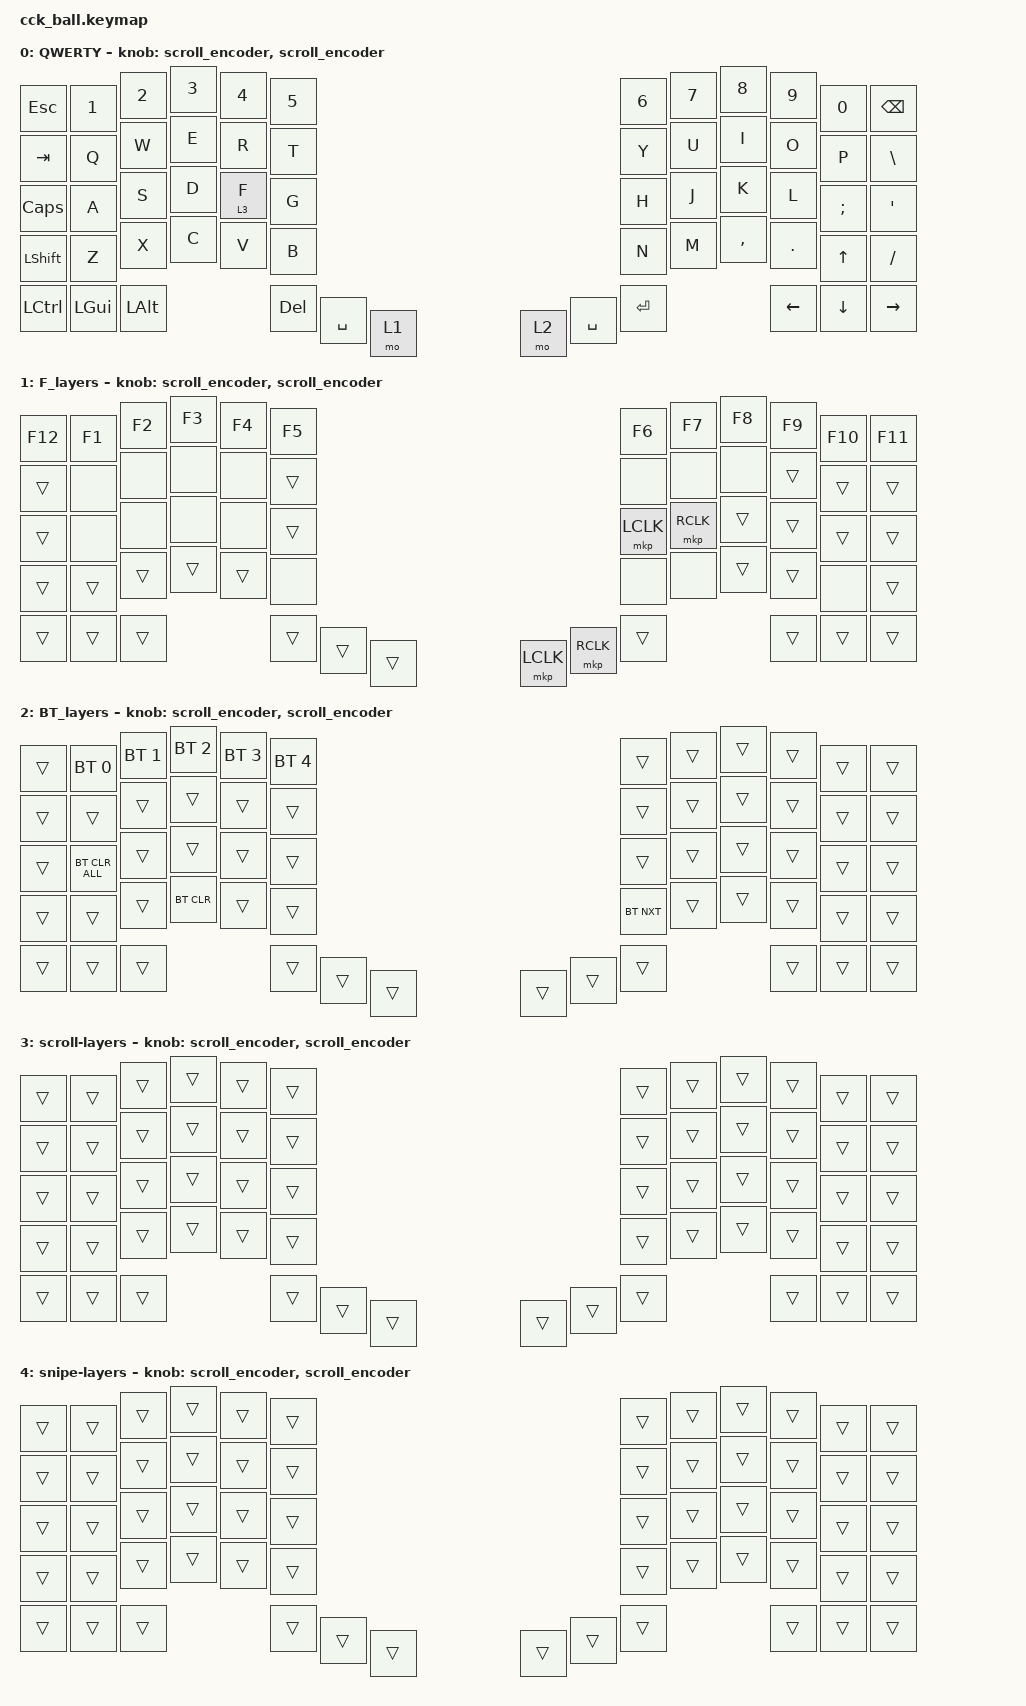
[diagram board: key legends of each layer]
/*
 * Scroll speed for &msc is in notches per second (smooth scrolling is OFF, so one unit = one
 * mouse-wheel notch). 64/s with a 16 ms trigger period = ~1.02 notch per tick, and the encoder
 * behavior below holds the key for 24 ms (one tick) -> exactly one notch per encoder click.
 */
#define ZMK_POINTING_DEFAULT_MOVE_VAL 1000 // 600
#define ZMK_POINTING_DEFAULT_SCRL_VAL 64   // 10

#include <input/processors.dtsi>
#include <zephyr/dt-bindings/input/input-event-codes.h>
#include <behaviors.dtsi>
#include <dt-bindings/zmk/bt.h>
#include <dt-bindings/zmk/keys.h>
#include <dt-bindings/zmk/pointing.h>

&mmv_input_listener { input-processors = <&zip_xy_scaler 2 1>; };

/* No scaler on &msc_input_listener on purpose: the encoder wheel must stay 1 click = 1 notch. */

&msc {
    acceleration-exponent = <0>;   /* constant speed, no ramp-up */
    time-to-max-speed-ms = <300>;
    delay-ms = <0>;
    trigger-period-ms = <16>;
};

&mmv {
    time-to-max-speed-ms = <500>;
    acceleration-exponent = <1>;
    trigger-period-ms = <16>;
};

&soft_off { hold-time-ms = <2000>; };

/ {
    behaviors {
        /*
         * Mouse-wheel encoder (used by both encoders, on every layer).
         * Clockwise = wheel down, counter-clockwise = wheel up.
         * To flip direction, swap the two bindings.
         * If one click ever gives 0 or 2 notches, adjust tap-ms (one 16 ms tick fits in 24 ms).
         */
        scroll_encoder: scroll_encoder {
            compatible = "zmk,behavior-sensor-rotate";
            #sensor-binding-cells = <0>;
            bindings = <&msc SCRL_DOWN>, <&msc SCRL_UP>;
            tap-ms = <24>;
        };
    };

    keymap {
        compatible = "zmk,keymap";

        QWERTY {
            bindings = <
&kp ESC           &kp N1        &kp N2        &kp N3      &kp N4     &kp N5  &kp N6  &kp N7     &kp N8     &kp N9          &kp N0          &kp BACKSPACE
&kp TAB           &kp Q         &kp W         &kp E       &kp R      &kp T   &kp Y   &kp U      &kp I      &kp O           &kp P           &kp BSLH
&kp CAPSLOCK      &kp A         &kp S         &kp D       &lt 3 F    &kp G   &kp H   &kp J      &kp K      &kp L           &kp SEMI        &kp SQT
&kp LEFT_SHIFT    &kp Z         &kp X         &kp C       &kp V      &kp B   &kp N   &kp M      &kp COMMA  &kp DOT         &kp UP_ARROW    &kp FSLH
&kp LEFT_CONTROL  &kp LGUI      &kp LEFT_ALT  &kp DELETE  &kp SPACE  &mo 1   &mo 2   &kp SPACE  &kp ENTER  &kp LEFT_ARROW  &kp DOWN_ARROW  &kp RIGHT_ARROW
            >;
            sensor-bindings = <&scroll_encoder &scroll_encoder>;
        };

        F_layers {
            bindings = <
&kp F12  &kp F1  &kp F2  &kp F3  &kp F4  &kp F5  &kp F6     &kp F7     &kp F8  &kp F9  &kp F10  &kp F11
&trans   &none   &none   &none   &none   &trans  &none      &none      &none   &trans  &trans   &trans
&trans   &none   &none   &none   &none   &trans  &mkp LCLK  &mkp RCLK  &trans  &trans  &trans   &trans
&trans   &trans  &trans  &trans  &trans  &none   &none      &none      &trans  &trans  &none    &trans
&trans   &trans  &trans  &trans  &trans  &trans  &mkp LCLK  &mkp RCLK  &trans  &trans  &trans   &trans
            >;
            sensor-bindings = <&scroll_encoder &scroll_encoder>;
        };

        BT_layers {
            bindings = <
&trans  &bt BT_SEL 0    &bt BT_SEL 1  &bt BT_SEL 2  &bt BT_SEL 3  &bt BT_SEL 4  &trans      &trans  &trans  &trans  &trans  &trans
&trans  &trans          &trans        &trans        &trans        &trans        &trans      &trans  &trans  &trans  &trans  &trans
&trans  &bt BT_CLR_ALL  &trans        &trans        &trans        &trans        &trans      &trans  &trans  &trans  &trans  &trans
&trans  &trans          &trans        &bt BT_CLR    &trans        &trans        &bt BT_NXT  &trans  &trans  &trans  &trans  &trans
&trans  &trans          &trans        &trans        &trans        &trans        &trans      &trans  &trans  &trans  &trans  &trans
            >;
            sensor-bindings = <&scroll_encoder &scroll_encoder>;
        };

        scroll-layers {
            bindings = <
&trans  &trans  &trans  &trans  &trans  &trans  &trans  &trans  &trans  &trans  &trans  &trans
&trans  &trans  &trans  &trans  &trans  &trans  &trans  &trans  &trans  &trans  &trans  &trans
&trans  &trans  &trans  &trans  &trans  &trans  &trans  &trans  &trans  &trans  &trans  &trans
&trans  &trans  &trans  &trans  &trans  &trans  &trans  &trans  &trans  &trans  &trans  &trans
&trans  &trans  &trans  &trans  &trans  &trans  &trans  &trans  &trans  &trans  &trans  &trans
            >;
            sensor-bindings = <&scroll_encoder &scroll_encoder>;
        };

        snipe-layers {
            bindings = <
&trans  &trans  &trans  &trans  &trans  &trans  &trans  &trans  &trans  &trans  &trans  &trans
&trans  &trans  &trans  &trans  &trans  &trans  &trans  &trans  &trans  &trans  &trans  &trans
&trans  &trans  &trans  &trans  &trans  &trans  &trans  &trans  &trans  &trans  &trans  &trans
&trans  &trans  &trans  &trans  &trans  &trans  &trans  &trans  &trans  &trans  &trans  &trans
&trans  &trans  &trans  &trans  &trans  &trans  &trans  &trans  &trans  &trans  &trans  &trans
            >;
            sensor-bindings = <&scroll_encoder &scroll_encoder>;
        };
    };
};
